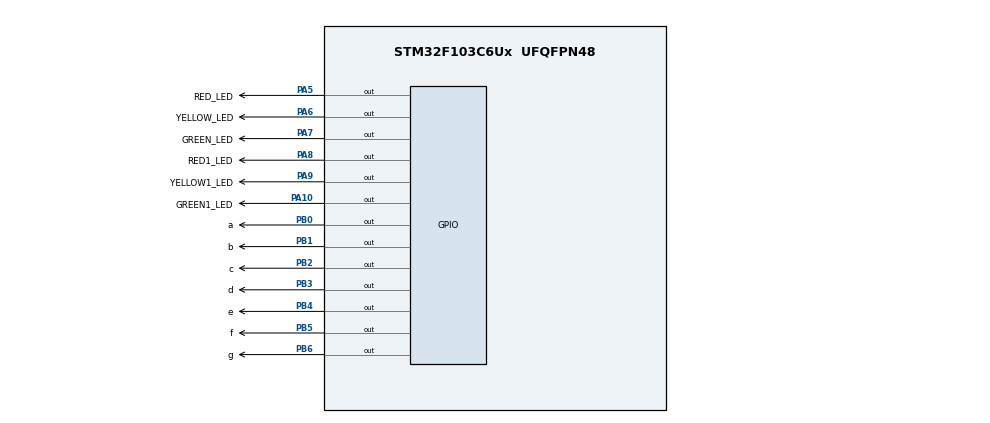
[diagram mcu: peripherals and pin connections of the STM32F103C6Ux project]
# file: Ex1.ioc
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Mcu.Family=STM32F1
Mcu.Name=STM32F103C6Ux
Mcu.Package=UFQFPN48
NVIC.PriorityGroup=NVIC_PRIORITYGROUP_4
PA10.GPIO_Label=GREEN1_LED
PA10.Signal=GPIO_Output
PA5.GPIO_Label=RED_LED
PA5.Signal=GPIO_Output
PA6.GPIO_Label=YELLOW_LED
PA6.Signal=GPIO_Output
PA7.GPIO_Label=GREEN_LED
PA7.Signal=GPIO_Output
PA8.GPIO_Label=RED1_LED
PA8.Signal=GPIO_Output
PA9.GPIO_Label=YELLOW1_LED
PA9.Signal=GPIO_Output
PB0.GPIO_Label=a
PB0.Signal=GPIO_Output
PB1.GPIO_Label=b
PB1.Signal=GPIO_Output
PB2.GPIO_Label=c
PB2.Signal=GPIO_Output
PB3.GPIO_Label=d
PB3.Signal=GPIO_Output
PB4.GPIO_Label=e
PB4.Signal=GPIO_Output
PB5.GPIO_Label=f
PB5.Signal=GPIO_Output
PB6.GPIO_Label=g
PB6.Signal=GPIO_Output
ProjectManager.HeapSize=0x200
ProjectManager.StackSize=0x400
ProjectManager.TargetToolchain=STM32CubeIDE
RCC.APB1Freq_Value=8000000
RCC.APB2Freq_Value=8000000
board=custom

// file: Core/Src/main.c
/* USER CODE BEGIN Header */
/**
  ******************************************************************************
  * @file           : main.c
  * @brief          : Main program body
  ******************************************************************************
  * @attention
  *
  * Copyright (c) 2022 STMicroelectronics.
  * All rights reserved.
  *
  * This software is licensed under terms that can be found in the LICENSE file
  * in the root directory of this software component.
  * If no LICENSE file comes with this software, it is provided AS-IS.
  *
  ******************************************************************************
  */
/* USER CODE END Header */
#include "main.h"

void SystemClock_Config(void);
static void MX_GPIO_Init(void);

/* USER CODE BEGIN 0 */
void display7SEG(int num) {
	if (num == 0) {
		HAL_GPIO_WritePin(a_GPIO_Port, a_Pin, RESET);
		HAL_GPIO_WritePin(b_GPIO_Port, b_Pin, RESET);
		HAL_GPIO_WritePin(c_GPIO_Port, c_Pin, RESET);
		HAL_GPIO_WritePin(d_GPIO_Port, d_Pin, RESET);
		HAL_GPIO_WritePin(e_GPIO_Port, e_Pin, RESET);
		HAL_GPIO_WritePin(f_GPIO_Port, f_Pin, RESET);
		HAL_GPIO_WritePin(g_GPIO_Port, g_Pin, SET);
	}
	if (num == 1) {
		HAL_GPIO_WritePin(a_GPIO_Port, a_Pin, SET);
		HAL_GPIO_WritePin(b_GPIO_Port, b_Pin, RESET);
		HAL_GPIO_WritePin(c_GPIO_Port, c_Pin, RESET);
		HAL_GPIO_WritePin(d_GPIO_Port, d_Pin, SET);
		HAL_GPIO_WritePin(e_GPIO_Port, e_Pin, SET);
		HAL_GPIO_WritePin(f_GPIO_Port, f_Pin, SET);
		HAL_GPIO_WritePin(g_GPIO_Port, g_Pin, SET);
	}
	if (num == 2) {
		HAL_GPIO_WritePin(a_GPIO_Port, a_Pin, RESET);
		HAL_GPIO_WritePin(b_GPIO_Port, b_Pin, RESET);
		HAL_GPIO_WritePin(c_GPIO_Port, c_Pin, SET);
		HAL_GPIO_WritePin(d_GPIO_Port, d_Pin, RESET);
		HAL_GPIO_WritePin(e_GPIO_Port, e_Pin, RESET);
		HAL_GPIO_WritePin(f_GPIO_Port, f_Pin, SET);
		HAL_GPIO_WritePin(g_GPIO_Port, g_Pin, RESET);
	}
	if (num == 3) {
		HAL_GPIO_WritePin(a_GPIO_Port, a_Pin, RESET);
		HAL_GPIO_WritePin(b_GPIO_Port, b_Pin, RESET);
		HAL_GPIO_WritePin(c_GPIO_Port, c_Pin, RESET);
		HAL_GPIO_WritePin(d_GPIO_Port, d_Pin, RESET);
		HAL_GPIO_WritePin(e_GPIO_Port, e_Pin, SET);
		HAL_GPIO_WritePin(f_GPIO_Port, f_Pin, SET);
		HAL_GPIO_WritePin(g_GPIO_Port, g_Pin, RESET);
	}
	if (num == 4) {
		HAL_GPIO_WritePin(a_GPIO_Port, a_Pin, SET);
		HAL_GPIO_WritePin(b_GPIO_Port, b_Pin, RESET);
		HAL_GPIO_WritePin(c_GPIO_Port, c_Pin, RESET);
		HAL_GPIO_WritePin(d_GPIO_Port, d_Pin, SET);
		HAL_GPIO_WritePin(e_GPIO_Port, e_Pin, SET);
		HAL_GPIO_WritePin(f_GPIO_Port, f_Pin, RESET);
		HAL_GPIO_WritePin(g_GPIO_Port, g_Pin, RESET);
	}
	if (num == 5) {
		HAL_GPIO_WritePin(a_GPIO_Port, a_Pin, RESET);
		HAL_GPIO_WritePin(b_GPIO_Port, b_Pin, SET);
		HAL_GPIO_WritePin(c_GPIO_Port, c_Pin, RESET);
		HAL_GPIO_WritePin(d_GPIO_Port, d_Pin, RESET);
		HAL_GPIO_WritePin(e_GPIO_Port, e_Pin, SET);
		HAL_GPIO_WritePin(f_GPIO_Port, f_Pin, RESET);
		HAL_GPIO_WritePin(g_GPIO_Port, g_Pin, RESET);
	}
	if (num == 6) {
		HAL_GPIO_WritePin(a_GPIO_Port, a_Pin, RESET);
		HAL_GPIO_WritePin(b_GPIO_Port, b_Pin, SET);
		HAL_GPIO_WritePin(c_GPIO_Port, c_Pin, RESET);
		HAL_GPIO_WritePin(d_GPIO_Port, d_Pin, RESET);
		HAL_GPIO_WritePin(e_GPIO_Port, e_Pin, RESET);
		HAL_GPIO_WritePin(f_GPIO_Port, f_Pin, RESET);
		HAL_GPIO_WritePin(g_GPIO_Port, g_Pin, RESET);
	}
	if (num == 7) {
		HAL_GPIO_WritePin(a_GPIO_Port, a_Pin, RESET);
		HAL_GPIO_WritePin(b_GPIO_Port, b_Pin, RESET);
		HAL_GPIO_WritePin(c_GPIO_Port, c_Pin, RESET);
		HAL_GPIO_WritePin(d_GPIO_Port, d_Pin, SET);
		HAL_GPIO_WritePin(e_GPIO_Port, e_Pin, SET);
		HAL_GPIO_WritePin(f_GPIO_Port, f_Pin, SET);
		HAL_GPIO_WritePin(g_GPIO_Port, g_Pin, SET);
	}
	if (num == 8) {
		HAL_GPIO_WritePin(a_GPIO_Port, a_Pin, RESET);
		HAL_GPIO_WritePin(b_GPIO_Port, b_Pin, RESET);
		HAL_GPIO_WritePin(c_GPIO_Port, c_Pin, RESET);
		HAL_GPIO_WritePin(d_GPIO_Port, d_Pin, RESET);
		HAL_GPIO_WritePin(e_GPIO_Port, e_Pin, RESET);
		HAL_GPIO_WritePin(f_GPIO_Port, f_Pin, RESET);
		HAL_GPIO_WritePin(g_GPIO_Port, g_Pin, RESET);
	}
	if (num == 9) {
		HAL_GPIO_WritePin(a_GPIO_Port, a_Pin, RESET);
		HAL_GPIO_WritePin(b_GPIO_Port, b_Pin, RESET);
		HAL_GPIO_WritePin(c_GPIO_Port, c_Pin, RESET);
		HAL_GPIO_WritePin(d_GPIO_Port, d_Pin, RESET);
		HAL_GPIO_WritePin(e_GPIO_Port, e_Pin, SET);
		HAL_GPIO_WritePin(f_GPIO_Port, f_Pin, RESET);
		HAL_GPIO_WritePin(g_GPIO_Port, g_Pin, RESET);
	}
}
/* USER CODE END 0 */

int main(void)
{

  /* MCU Configuration--------------------------------------------------------*/

  /* Reset of all peripherals, Initializes the Flash interface and the Systick. */
  HAL_Init();

  /* Configure the system clock */
  SystemClock_Config();

  /* Initialize all configured peripherals */
  MX_GPIO_Init();

  /* Infinite loop */
  /* USER CODE BEGIN WHILE */

  int counter = 0;
  HAL_GPIO_WritePin(GREEN_LED_GPIO_Port, GREEN_LED_Pin, GPIO_PIN_SET);
  HAL_GPIO_WritePin(RED_LED_GPIO_Port, RED_LED_Pin, GPIO_PIN_SET);
  HAL_GPIO_WritePin(YELLOW_LED_GPIO_Port, YELLOW_LED_Pin, GPIO_PIN_RESET);
  HAL_GPIO_WritePin(GREEN1_LED_GPIO_Port, GREEN1_LED_Pin, GPIO_PIN_SET);
  HAL_GPIO_WritePin(RED1_LED_GPIO_Port, RED1_LED_Pin, GPIO_PIN_RESET);
  HAL_GPIO_WritePin(YELLOW1_LED_GPIO_Port, YELLOW1_LED_Pin, GPIO_PIN_SET);

  while (1) {
	  if (counter == 0) {
		  HAL_GPIO_TogglePin(RED_LED_GPIO_Port, RED_LED_Pin);
		  HAL_GPIO_TogglePin(YELLOW_LED_GPIO_Port, YELLOW_LED_Pin);
		  HAL_GPIO_TogglePin(RED1_LED_GPIO_Port, RED1_LED_Pin);
		  HAL_GPIO_TogglePin(GREEN1_LED_GPIO_Port, GREEN1_LED_Pin);
	  }
	  if (counter == 3) {
		  HAL_GPIO_TogglePin(YELLOW1_LED_GPIO_Port, YELLOW1_LED_Pin);
		  HAL_GPIO_TogglePin(GREEN1_LED_GPIO_Port, GREEN1_LED_Pin);
	  }
	  if (counter == 5) {
		  HAL_GPIO_TogglePin(RED_LED_GPIO_Port, RED_LED_Pin);
		  HAL_GPIO_TogglePin(GREEN_LED_GPIO_Port, GREEN_LED_Pin);
		  HAL_GPIO_TogglePin(YELLOW1_LED_GPIO_Port, YELLOW1_LED_Pin);
		  HAL_GPIO_TogglePin(RED1_LED_GPIO_Port, RED1_LED_Pin);
	  }
	  if (counter == 8) {
		  HAL_GPIO_TogglePin(YELLOW_LED_GPIO_Port, YELLOW_LED_Pin);
		  HAL_GPIO_TogglePin(GREEN_LED_GPIO_Port, GREEN_LED_Pin);
	  }
	  if (counter < 3) display7SEG(3 - counter - 1);
	  else if (counter < 5) display7SEG(5 - counter - 1);
	  else if (counter < 10) display7SEG(10 - counter -1 );
	  if (counter >= 10) {
		  counter = -1;
	  }

	  counter++;
	  HAL_Delay(1000);
  }

  /* USER CODE END 3 */
}

void SystemClock_Config(void)
{
  RCC_OscInitTypeDef RCC_OscInitStruct = {0};
  RCC_ClkInitTypeDef RCC_ClkInitStruct = {0};

  /** Initializes the RCC Oscillators according to the specified parameters
  * in the RCC_OscInitTypeDef structure.
  */
  RCC_OscInitStruct.OscillatorType = RCC_OSCILLATORTYPE_HSI;
  RCC_OscInitStruct.HSIState = RCC_HSI_ON;
  RCC_OscInitStruct.HSICalibrationValue = RCC_HSICALIBRATION_DEFAULT;
  RCC_OscInitStruct.PLL.PLLState = RCC_PLL_NONE;
  if (HAL_RCC_OscConfig(&RCC_OscInitStruct) != HAL_OK)
  {
    Error_Handler();
  }

  /** Initializes the CPU, AHB and APB buses clocks
  */
  RCC_ClkInitStruct.ClockType = RCC_CLOCKTYPE_HCLK|RCC_CLOCKTYPE_SYSCLK
                              |RCC_CLOCKTYPE_PCLK1|RCC_CLOCKTYPE_PCLK2;
  RCC_ClkInitStruct.SYSCLKSource = RCC_SYSCLKSOURCE_HSI;
  RCC_ClkInitStruct.AHBCLKDivider = RCC_SYSCLK_DIV1;
  RCC_ClkInitStruct.APB1CLKDivider = RCC_HCLK_DIV1;
  RCC_ClkInitStruct.APB2CLKDivider = RCC_HCLK_DIV1;

  if (HAL_RCC_ClockConfig(&RCC_ClkInitStruct, FLASH_LATENCY_0) != HAL_OK)
  {
    Error_Handler();
  }
}

static void MX_GPIO_Init(void)
{
  GPIO_InitTypeDef GPIO_InitStruct = {0};

  /* GPIO Ports Clock Enable */
  __HAL_RCC_GPIOA_CLK_ENABLE();
  __HAL_RCC_GPIOB_CLK_ENABLE();

  /*Configure GPIO pin Output Level */
  HAL_GPIO_WritePin(GPIOA, RED_LED_Pin|YELLOW_LED_Pin|GREEN_LED_Pin|RED1_LED_Pin
                          |YELLOW1_LED_Pin|GREEN1_LED_Pin, GPIO_PIN_RESET);

  /*Configure GPIO pin Output Level */
  HAL_GPIO_WritePin(GPIOB, a_Pin|b_Pin|c_Pin|d_Pin
                          |e_Pin|f_Pin|g_Pin, GPIO_PIN_RESET);

  /*Configure GPIO pins : RED_LED_Pin YELLOW_LED_Pin GREEN_LED_Pin RED1_LED_Pin
                           YELLOW1_LED_Pin GREEN1_LED_Pin */
  GPIO_InitStruct.Pin = RED_LED_Pin|YELLOW_LED_Pin|GREEN_LED_Pin|RED1_LED_Pin
                          |YELLOW1_LED_Pin|GREEN1_LED_Pin;
  GPIO_InitStruct.Mode = GPIO_MODE_OUTPUT_PP;
  GPIO_InitStruct.Pull = GPIO_NOPULL;
  GPIO_InitStruct.Speed = GPIO_SPEED_FREQ_LOW;
  HAL_GPIO_Init(GPIOA, &GPIO_InitStruct);

  /*Configure GPIO pins : a_Pin b_Pin c_Pin d_Pin
                           e_Pin f_Pin g_Pin */
  GPIO_InitStruct.Pin = a_Pin|b_Pin|c_Pin|d_Pin
                          |e_Pin|f_Pin|g_Pin;
  GPIO_InitStruct.Mode = GPIO_MODE_OUTPUT_PP;
  GPIO_InitStruct.Pull = GPIO_NOPULL;
  GPIO_InitStruct.Speed = GPIO_SPEED_FREQ_LOW;
  HAL_GPIO_Init(GPIOB, &GPIO_InitStruct);

}

void Error_Handler(void)
{
  __disable_irq();
  while (1)
  {
  }
}
